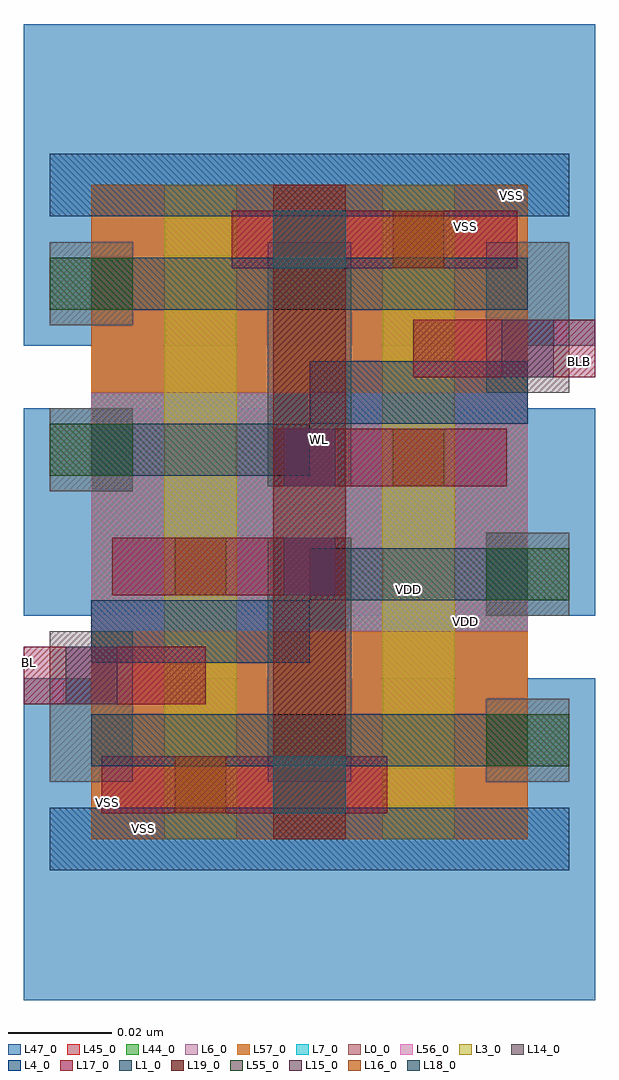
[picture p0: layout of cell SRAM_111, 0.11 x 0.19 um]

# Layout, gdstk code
import gdstk
lib = gdstk.Library(unit=1e-6, precision=5e-10)
def R(c, l, rs):  # rectangles x0, y0, x1, y1
    for r in rs: c.add(gdstk.rectangle(r[:2], r[2:], *l))
L0_0 = (0, 0)
L1_0 = (1, 0)
L3_0 = (3, 0)
L4_0 = (4, 0)
L6_0 = (6, 0)
L7_0 = (7, 0)
L14_0 = (14, 0)
L15_0 = (15, 0)
L16_0 = (16, 0)
L17_0 = (17, 0)
L18_0 = (18, 0)
L19_0 = (19, 0)
L44_0 = (44, 0)
L45_0 = (45, 0)
L47_0 = (47, 0)
L55_0 = (55, 0)
L56_0 = (56, 0)
L57_0 = (57, 0)

sram_111 = lib.new_cell('SRAM_111')
R(sram_111, L0_0, [(0,0.04,0.084,0.086)])
R(sram_111, L1_0, [(0,0.014,0.084,0.024), (0.042,0.046,0.084,0.056), (0,0.07,0.042,0.08), (0,0.102,0.084,0.112)])
R(sram_111, L3_0, [(0.014,0,0.028,0.126), (0.056,0,0.07,0.126)])
R(sram_111, L4_0, [(-0.008,-0.006,0.092,0.006), (0,0.034,0.042,0.046), (0.042,0.08,0.084,0.092), (-0.008,0.12,0.092,0.132)])
R(sram_111, L6_0, [(0,0,0.084,0.04), (0,0.086,0.084,0.126)])
R(sram_111, L7_0, [(0,0.04,0.084,0.086)])
R(sram_111, L14_0, [(-0.008,0.011,0.008,0.04), (0.034,0.011,0.05,0.058), (0.076,0.011,0.092,0.027), (0.076,0.043,0.092,0.059), (-0.008,0.067,0.008,0.083), (0.034,0.068,0.05,0.115), (0.076,0.086,0.092,0.115), (-0.008,0.099,0.008,0.115)])
R(sram_111, L15_0, [(-0.005,0.026,0.005,0.037), (0.037,0.047,0.047,0.058), (0.037,0.068,0.047,0.079), (0.079,0.089,0.089,0.1)])
R(sram_111, L16_0, [(0.016,0.005,0.026,0.016), (0.016,0.047,0.026,0.058), (0.058,0.068,0.068,0.079), (0.058,0.11,0.068,0.121)])
R(sram_111, L17_0, [(0.002,0.005,0.057,0.016), (-0.013,0.026,0.022,0.037), (0.004,0.047,0.049,0.058), (0.035,0.068,0.08,0.079), (0.062,0.089,0.097,0.1), (0.027,0.11,0.082,0.121)])
R(sram_111, L18_0, [(0.035,0.005,0.049,0.016), (0.035,0.11,0.049,0.121)])
R(sram_111, L19_0, [(0.035,0,0.049,0.126)])
R(sram_111, L44_0, [(0,0,0.084,0.126)])
R(sram_111, L45_0, [(0,0,0.084,0.126)])
R(sram_111, L47_0, [(-0.013,-0.031,0.097,0.031), (-0.013,0.043,0.097,0.083), (-0.013,0.095,0.097,0.157)])
R(sram_111, L55_0, [(0.076,0.014,0.092,0.024), (0.076,0.046,0.092,0.056), (-0.008,0.07,0.008,0.08), (-0.008,0.102,0.008,0.112)])
R(sram_111, L56_0, [(0,0.04,0.084,0.086)])
R(sram_111, L57_0, [(0,0,0.084,0.04), (0,0.086,0.084,0.126)])
sram_111.add(gdstk.Label('VSS', (0.072,0.118), layer=47, texttype=2))
sram_111.add(gdstk.Label('VDD', (0.061,0.048), layer=47, texttype=2))
sram_111.add(gdstk.Label('VSS', (0.003,0.007), layer=47, texttype=2))
sram_111.add(gdstk.Label('WL', (0.044,0.077), layer=19, texttype=2))
sram_111.add(gdstk.Label('BL', (-0.012,0.034), layer=17, texttype=2))
sram_111.add(gdstk.Label('BLB', (0.094,0.092), layer=17, texttype=2))
sram_111.add(gdstk.Label('VDD', (0.072,0.042), layer=0, texttype=2))
sram_111.add(gdstk.Label('VSS', (0.081,0.124), layer=54, texttype=2))
sram_111.add(gdstk.Label('VSS', (0.01,0.002), layer=54, texttype=2))

lib.write_gds('SRAM_111.gds')
